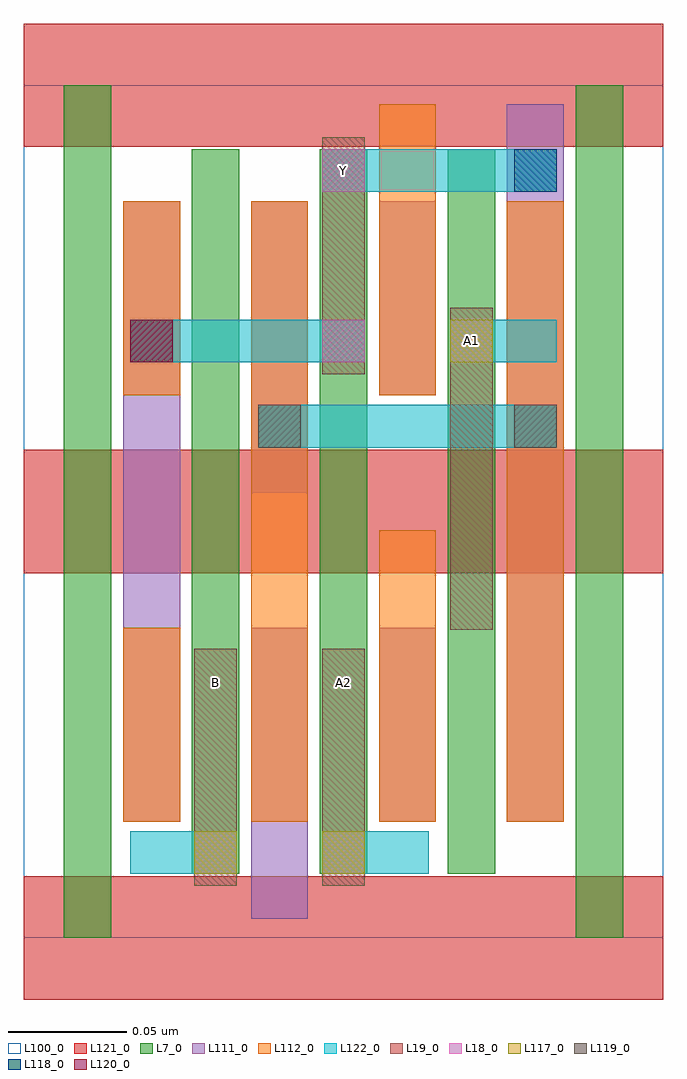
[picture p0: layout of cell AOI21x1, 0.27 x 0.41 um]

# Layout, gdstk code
import gdstk
lib = gdstk.Library(unit=1e-6, precision=2.5e-10)
def R(c, l, rs):  # rectangles x0, y0, x1, y1
    for r in rs: c.add(gdstk.rectangle(r[:2], r[2:], *l))
def A(c, l, x, y, w, h, nx, ny, dx, dy):  # array of equal rectangles
    R(c, l, [(x+i*dx, y+j*dy, x+i*dx+w, y+j*dy+h) for i in range(nx) for j in range(ny)])
L7_0 = (7, 0)
L18_0 = (18, 0)
L19_0 = (19, 0)
L100_0 = (100, 0)
L111_0 = (111, 0)
L112_0 = (112, 0)
L117_0 = (117, 0)
L118_0 = (118, 0)
L119_0 = (119, 0)
L120_0 = (120, 0)
L121_0 = (121, 0)
L122_0 = (122, 0)

aoi21x1 = lib.new_cell('AOI21x1')
A(aoi21x1, L7_0, 0.071, 0.027, 0.02, 0.153, 3, 2, 0.054, 0.153)
R(aoi21x1, L7_0, [(0.017,0,0.037,0.18), (0.233,0,0.253,0.18), (0.017,0.18,0.037,0.36), (0.233,0.18,0.253,0.36)])
R(aoi21x1, L18_0, [(0.072,0.027,0.09,0.045), (0.126,0.027,0.144,0.045), (0.126,0.243,0.144,0.261), (0.18,0.243,0.198,0.261), (0.126,0.315,0.144,0.333)])
R(aoi21x1, L19_0, [(0.072,0.022,0.09,0.122), (0.126,0.022,0.144,0.122), (0.18,0.13,0.198,0.266), (0.126,0.238,0.144,0.338)])
R(aoi21x1, L100_0, [(0,0,0.27,0.36)])
R(aoi21x1, L111_0, [(0.096,0.008,0.12,0.131), (0.042,0.049,0.066,0.18), (0.15,0.049,0.174,0.131), (0.204,0.049,0.228,0.18), (0.042,0.18,0.066,0.311), (0.204,0.18,0.228,0.352), (0.096,0.188,0.12,0.311), (0.15,0.229,0.174,0.311)])
R(aoi21x1, L112_0, [(0.042,0.049,0.066,0.131), (0.096,0.049,0.12,0.18), (0.15,0.049,0.174,0.172), (0.204,0.049,0.228,0.18), (0.096,0.18,0.12,0.311), (0.204,0.18,0.228,0.311), (0.042,0.229,0.066,0.311), (0.15,0.229,0.174,0.352)])
R(aoi21x1, L117_0, [(0.072,0.027,0.09,0.045), (0.126,0.027,0.144,0.045), (0.18,0.243,0.198,0.261)])
R(aoi21x1, L118_0, [(0.207,0.315,0.225,0.333)])
R(aoi21x1, L119_0, [(0.099,0.207,0.117,0.225), (0.207,0.207,0.225,0.225), (0.045,0.243,0.063,0.261)])
R(aoi21x1, L120_0, [(0.045,0.243,0.063,0.261)])
A(aoi21x1, L121_0, 0, -0.026, 0.27, 0.052, 1, 3, 0, 0.18)
R(aoi21x1, L122_0, [(0.045,0.027,0.09,0.045), (0.126,0.027,0.171,0.045), (0.099,0.207,0.225,0.225), (0.045,0.243,0.144,0.261), (0.18,0.243,0.225,0.261), (0.126,0.315,0.225,0.333)])
aoi21x1.add(gdstk.Label('Y', (0.135,0.324), layer=19, texttype=251))
aoi21x1.add(gdstk.Label('B', (0.081,0.108), layer=19, texttype=251))
aoi21x1.add(gdstk.Label('A2', (0.135,0.108), layer=19, texttype=251))
aoi21x1.add(gdstk.Label('A1', (0.189,0.252), layer=19, texttype=251))

lib.write_gds('AOI21x1.gds')
